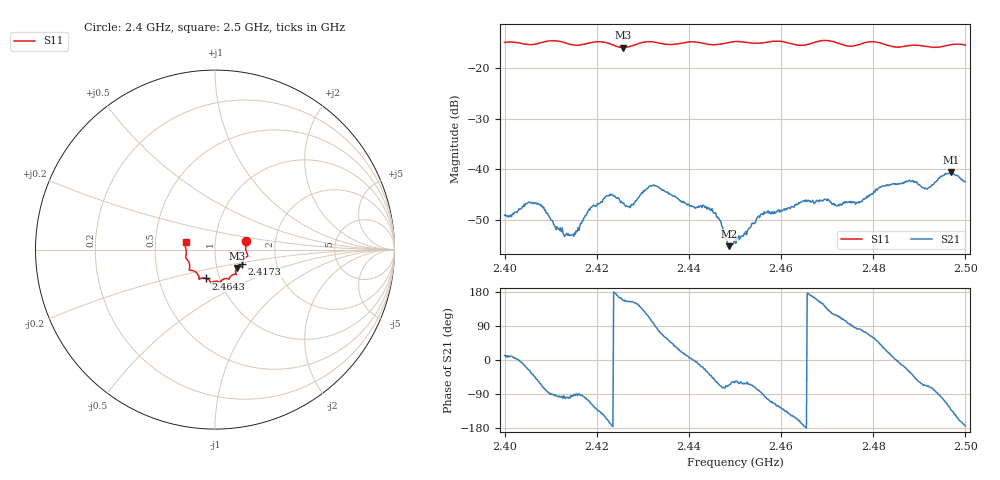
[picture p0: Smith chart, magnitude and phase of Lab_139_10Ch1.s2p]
# Hz S RI R 50
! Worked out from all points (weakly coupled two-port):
!   601 points, 2.4 GHz to 2.5 GHz, reference 50 ohm
!   highest |S21| = -40.60 dB at 2.4968 GHz (marker M1); lowest = -55.2 dB at 2.4487 GHz (marker M2)
!   lowest |S11| = -15.9 dB at 2.4257 GHz (marker M3), VSWR 1.38, Z = 62.4 - j13.1 ohm
!   |S11| at or under -10 dB: start of sweep to end of sweep
!   S12 and S22 are empty: the file has one direction only
!   S11 on the Smith chart (normalised r, x): 2.4 GHz: 1.41, +0.14; 2.4173 GHz: 1.34, -0.23; 2.4643 GHz: 0.86, -0.28; 2.5 GHz: 0.72, +0.06
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2.4e9  0.1731 0.0486  0.00342 0.000729  0 0  0 0
2.4055e9  0.1706 0.00786  0.00412 -0.00228  0 0  0 0
2.408e9  0.1779 -0.021  0.00173 -0.00392  0 0  0 0
2.413167e9  0.1729 -0.0422  -0.000455 -0.00217  0 0  0 0
2.416667e9  0.1529 -0.0748  -9.58e-05 -0.0029  0 0  0 0
2.417333e9  0.1519 -0.0823  -0.000476 -0.0033  0 0  0 0
2.422667e9  0.1476 -0.0946  -0.00523 -0.00151  0 0  0 0
2.425667e9  0.1226 -0.1024  -0.00426 0.00179  0 0  0 0
2.4275e9  0.1149 -0.1189  -0.00402 0.00196  0 0  0 0
2.431167e9  0.1188 -0.1387  -0.00288 0.00591  0 0  0 0
2.433333e9  0.1129 -0.1373  0.00125 0.00656  0 0  0 0
2.444667e9  0.058 -0.1611  0.00304 -0.00263  0 0  0 0
2.448667e9  0.0324 -0.1765  0.000698 -0.00158  0 0  0 0
2.45e9  0.0288 -0.1808  0.00111 -0.00167  0 0  0 0
2.456e9  -0.00661 -0.1777  -4.88e-05 -0.00363  0 0  0 0
2.464333e9  -0.0502 -0.1604  -0.00459 -0.00116  0 0  0 0
2.466667e9  -0.076 -0.159  -0.00468 0.000871  0 0  0 0
2.476667e9  -0.123 -0.1168  0.000653 0.00467  0 0  0 0
2.483333e9  -0.1406 -0.0902  0.00653 0.00213  0 0  0 0
2.491667e9  -0.1609 -0.0287  0.00225 -0.00594  0 0  0 0
2.496833e9  -0.1687 0.0254  -0.00612 -0.00705  0 0  0 0
2.5e9  -0.164 0.0421  -0.00745 -0.000715  0 0  0 0
